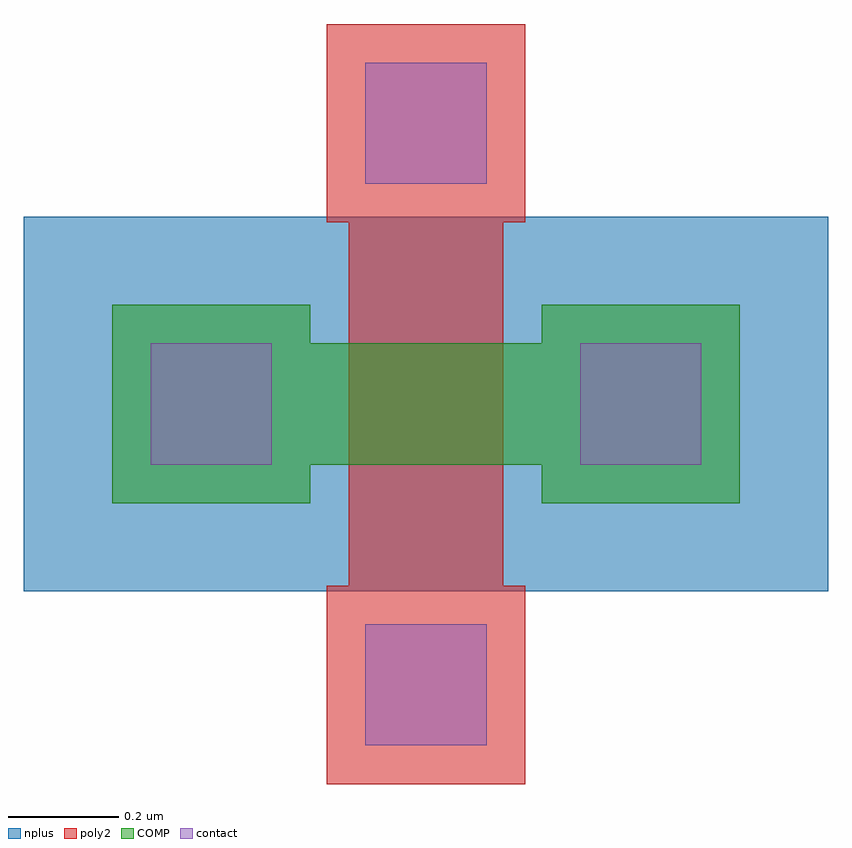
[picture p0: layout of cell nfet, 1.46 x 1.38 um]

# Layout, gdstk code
import gdstk
lib = gdstk.Library(unit=1e-6, precision=1e-09)
def R(c, l, rs):  # rectangles x0, y0, x1, y1
    for r in rs: c.add(gdstk.rectangle(r[:2], r[2:], *l))
COMP = (22, 0)
poly2 = (30, 0)
nplus = (32, 0)
contact = (33, 0)

labels_gen_c2858a10 = lib.new_cell('labels_gen_c2858a10')

labels_gen_0a97890e = lib.new_cell('labels_gen_0a97890e')

labels_gen_b82f8242 = lib.new_cell('labels_gen_b82f8242')

compass_520a5012 = lib.new_cell('compass_520a5012')
R(compass_520a5012, COMP, [(-0.21,-0.11,0.21,0.11)])

rectangle_520a5012 = lib.new_cell('rectangle_520a5012')
rectangle_520a5012.add(gdstk.Reference(compass_520a5012, (0.21,0.11)))

compass_9e7b3a30 = lib.new_cell('compass_9e7b3a30')
R(compass_9e7b3a30, COMP, [(-0.18,-0.18,0.18,0.18)])

rectangle_9e7b3a30 = lib.new_cell('rectangle_9e7b3a30')
rectangle_9e7b3a30.add(gdstk.Reference(compass_9e7b3a30, (0.18,0.18)))

compass_f38dc993 = lib.new_cell('compass_f38dc993')
R(compass_f38dc993, contact, [(-0.11,-0.11,0.11,0.11)])

rectangle_f38dc993 = lib.new_cell('rectangle_f38dc993')
rectangle_f38dc993.add(gdstk.Reference(compass_f38dc993, (0.11,0.11)))

via_generator_085ba817 = lib.new_cell('via_generator_085ba817')
r = gdstk.Reference(rectangle_f38dc993, (-0.29,0)); r.repetition = gdstk.Repetition(1, 1, v1=(0.5,0), v2=(0,0.5)); via_generator_085ba817.add(r)

compass_9deecdff = lib.new_cell('compass_9deecdff')
R(compass_9deecdff, COMP, [(-0.17,-0.17,0.17,0.17)])

rectangle_9deecdff = lib.new_cell('rectangle_9deecdff')
rectangle_9deecdff.add(gdstk.Reference(compass_9deecdff, (0.17,0.17)))

via_stack_ea03a7d4 = lib.new_cell('via_stack_ea03a7d4')
via_stack_ea03a7d4.add(gdstk.Reference(via_generator_085ba817, (0,0)))
via_stack_ea03a7d4.add(gdstk.Reference(rectangle_9deecdff, (-0.35,-0.06)))

compass_497bce43 = lib.new_cell('compass_497bce43')
R(compass_497bce43, poly2, [(-0.14,-0.33,0.14,0.33)])

rectangle_497bce43 = lib.new_cell('rectangle_497bce43')
rectangle_497bce43.add(gdstk.Reference(compass_497bce43, (0.14,0.33)))

compass_8cbc0bb9 = lib.new_cell('compass_8cbc0bb9')
R(compass_8cbc0bb9, poly2, [(-0.18,-0.18,0.18,0.18)])

rectangle_8cbc0bb9 = lib.new_cell('rectangle_8cbc0bb9')
rectangle_8cbc0bb9.add(gdstk.Reference(compass_8cbc0bb9, (0.18,0.18)))

via_generator_01feaf1a = lib.new_cell('via_generator_01feaf1a')
r = gdstk.Reference(rectangle_f38dc993, (0.07,0.07)); r.repetition = gdstk.Repetition(1, 1, v1=(0.5,0), v2=(0,0.5)); via_generator_01feaf1a.add(r)

compass_c6da174f = lib.new_cell('compass_c6da174f')
R(compass_c6da174f, poly2, [(-0.17,-0.17,0.17,0.17)])

rectangle_c6da174f = lib.new_cell('rectangle_c6da174f')
rectangle_c6da174f.add(gdstk.Reference(compass_c6da174f, (0.17,0.17)))

via_stack_6a2e7997 = lib.new_cell('via_stack_6a2e7997')
via_stack_6a2e7997.add(gdstk.Reference(via_generator_01feaf1a, (0,0)))
via_stack_6a2e7997.add(gdstk.Reference(rectangle_c6da174f, (0.01,0.01)))

poly_con_2 = lib.new_cell('poly con$2')
poly_con_2.add(gdstk.Reference(rectangle_8cbc0bb9, (0,0)))
poly_con_2.add(gdstk.Reference(via_stack_6a2e7997, (0,0)))

compass_1130dc82 = lib.new_cell('compass_1130dc82')
R(compass_1130dc82, nplus, [(-0.73,-0.34,0.73,0.34)])

rectangle_1130dc82 = lib.new_cell('rectangle_1130dc82')
rectangle_1130dc82.add(gdstk.Reference(compass_1130dc82, (0.73,0.34)))

dev_temp_2 = lib.new_cell('dev_temp$2')
dev_temp_2.add(gdstk.Reference(rectangle_520a5012, (0,0)))
r = gdstk.Reference(rectangle_9e7b3a30, (-0.36,-0.07)); r.repetition = gdstk.Repetition(2, 1, v1=(0.78,0), v2=(0,1)); dev_temp_2.add(r)
r = gdstk.Reference(via_stack_ea03a7d4, (0,0)); r.repetition = gdstk.Repetition(2, 1, v1=(0.78,0), v2=(0,1)); dev_temp_2.add(r)
dev_temp_2.add(gdstk.Reference(rectangle_497bce43, (0.07,-0.22)))
r = gdstk.Reference(poly_con_2, (0.03,-0.58)); r.repetition = gdstk.Repetition(1, 2, v1=(1,0), v2=(0,1.02)); dev_temp_2.add(r)
dev_temp_2.add(gdstk.Reference(rectangle_1130dc82, (-0.52,-0.23)))

nfet_deep_nwell_59461dff = lib.new_cell('nfet_deep_nwell_59461dff')

nfet = lib.new_cell('nfet')
nfet.add(gdstk.Reference(labels_gen_c2858a10, (0,0)))
nfet.add(gdstk.Reference(labels_gen_0a97890e, (0,0)))
nfet.add(gdstk.Reference(labels_gen_b82f8242, (0,0)))
nfet.add(gdstk.Reference(dev_temp_2, (0,0)))
nfet.add(gdstk.Reference(nfet_deep_nwell_59461dff, (0,0)))

lib.write_gds('nfet.gds')
